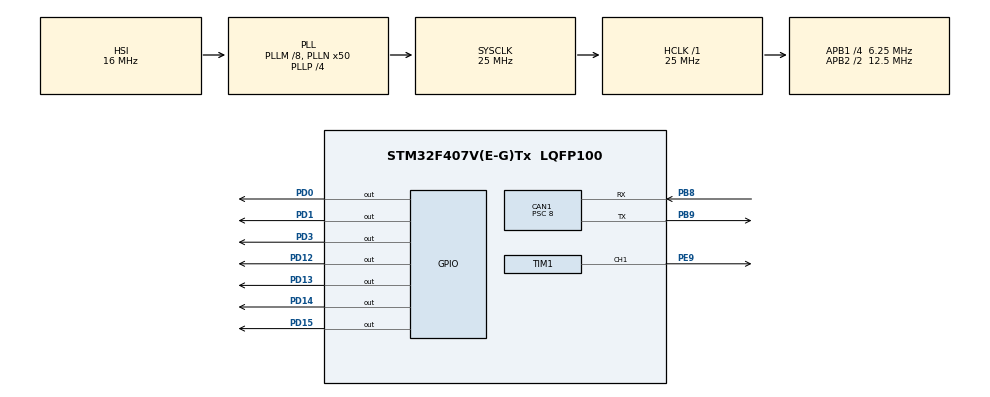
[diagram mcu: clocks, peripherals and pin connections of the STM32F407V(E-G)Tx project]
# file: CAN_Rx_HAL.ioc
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CAN1.BS1=CAN_BS1_13TQ
CAN1.BS2=CAN_BS2_2TQ
CAN1.CalculateBaudRate=48828
CAN1.CalculateTimeBit=20480
CAN1.CalculateTimeQuantum=1280.0
CAN1.Prescaler=8
Mcu.Family=STM32F4
Mcu.Name=STM32F407V(E-G)Tx
Mcu.Package=LQFP100
NVIC.CAN1_RX0_IRQn=true\:0\:0\:false\:false\:true\:true\:true\:true
NVIC.PriorityGroup=NVIC_PRIORITYGROUP_0
PB8.Mode=CAN_Activate
PB8.Signal=CAN1_RX
PB9.Mode=CAN_Activate
PB9.Signal=CAN1_TX
PD0.Signal=GPIO_Output
PD1.Signal=GPIO_Output
PD12.GPIO_ModeDefaultOutputPP=GPIO_MODE_OUTPUT_PP
PD12.Signal=GPIO_Output
PD13.Signal=GPIO_Output
PD14.GPIO_ModeDefaultOutputPP=GPIO_MODE_OUTPUT_PP
PD14.Signal=GPIO_Output
PD15.Signal=GPIO_Output
PD3.Signal=GPIO_Output
PE9.Signal=S_TIM1_CH1
ProjectManager.HeapSize=0x200
ProjectManager.StackSize=0x400
ProjectManager.TargetToolchain=STM32CubeIDE
RCC.48MHZClocksFreq_Value=14285714.285714285
RCC.AHBFreq_Value=25000000
RCC.APB1CLKDivider=RCC_HCLK_DIV4
RCC.APB1Freq_Value=6250000
RCC.APB1TimFreq_Value=12500000
RCC.APB2CLKDivider=RCC_HCLK_DIV2
RCC.APB2Freq_Value=12500000
RCC.APB2TimFreq_Value=25000000
RCC.CortexFreq_Value=25000000
RCC.HCLKFreq_Value=25000000
RCC.HSE_VALUE=8000000
RCC.HSI_VALUE=16000000
RCC.LSE_VALUE=32768
RCC.PLLM=8
RCC.PLLN=50
RCC.PLLP=RCC_PLLP_DIV4
RCC.PLLQ=7
RCC.SYSCLKFreq_VALUE=25000000
RCC.SYSCLKSource=RCC_SYSCLKSOURCE_PLLCLK
RCC.VCOOutputFreq_Value=100000000
SH.S_TIM1_CH1.0=TIM1_CH1,PWM Generation1 CH1
TIM1.Channel-PWM\ Generation1\ CH1=TIM_CHANNEL_1
TIM1.Period=999
TIM1.Prescaler=83
VP_TIM1_VS_ClockSourceINT.Mode=Internal
board=STM32F407G-DISC1

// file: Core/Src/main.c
/* USER CODE BEGIN Header */
/**
 ******************************************************************************
 * @file           : main.c
 * @brief          : Main program body
 ******************************************************************************
 * @attention
 *
 * Copyright (c) 2026 STMicroelectronics.
 * All rights reserved.
 *
 * This software is licensed under terms that can be found in the LICENSE file
 * in the root directory of this software component.
 * If no LICENSE file comes with this software, it is provided AS-IS.
 *
 ******************************************************************************
 */
/* USER CODE END Header */
#include "main.h"

CAN_HandleTypeDef hcan1;

TIM_HandleTypeDef htim1;

/* USER CODE BEGIN PV */
uint32_t motor_speed = 0;

CAN_RxHeaderTypeDef RxHeader;
uint8_t Rxdata[8];
uint16_t ultra_reading;
uint8_t ir_reading;
uint8_t vib_ok = 0, mq_ok = 0;

/* USER CODE END PV */

void SystemClock_Config(void);
static void MX_GPIO_Init(void);
static void MX_CAN1_Init(void);
static void MX_TIM1_Init(void);
/* USER CODE BEGIN PFP */

void Motor_Run(uint16_t speed) {
	if (speed > 999)
		speed = 999;
	HAL_GPIO_WritePin(GPIOD, GPIO_PIN_0, GPIO_PIN_SET);   // IN1
	HAL_GPIO_WritePin(GPIOD, GPIO_PIN_1, GPIO_PIN_RESET); // IN2
	__HAL_TIM_SET_COMPARE(&htim1, TIM_CHANNEL_1, speed);
}

void Motor_SmoothSpeed(uint16_t target) {

	if (motor_speed < target)
		motor_speed += 25;
	else if (motor_speed > target)
		motor_speed -= 25;

	Motor_Run(motor_speed);
}

/* USER CODE END PFP */

int main(void) {

	/* MCU Configuration--------------------------------------------------------*/

	/* Reset of all peripherals, Initializes the Flash interface and the Systick. */
	HAL_Init();

	/* Configure the system clock */
	SystemClock_Config();

	/* Initialize all configured peripherals */
	MX_GPIO_Init();
	MX_CAN1_Init();
	MX_TIM1_Init();
	/* USER CODE BEGIN 2 */
	//can_filter_config();
	HAL_CAN_Start(&hcan1);
	//HAL_CAN_ActivateNotification(&hcan1, CAN_IT_RX_FIFO0_MSG_PENDING);
	HAL_TIM_PWM_Start(&htim1, TIM_CHANNEL_1);

	/* USER CODE END 2 */

	/* Infinite loop */
	/* USER CODE BEGIN WHILE */
	while (1) {
		if (HAL_CAN_GetRxFifoFillLevel(&hcan1, CAN_RX_FIFO0) > 0) {
			HAL_CAN_GetRxMessage(&hcan1, CAN_RX_FIFO0, &RxHeader, Rxdata);
			if (RxHeader.StdId == 0x123 && RxHeader.DLC == 2) {
				ultra_reading = (Rxdata[0] << 8) | Rxdata[1];
				//LcdPuts(LCD_LINE1, "VIB:");
				//sprintf(lcd_buf,"%4d",vibration_reading);
				//LcdPuts(LCD_LINE1+4,lcd_buf);
				if (ultra_reading > 20) {
					vib_ok = 0;

//				motor_start();
					Motor_SmoothSpeed(500);
					HAL_GPIO_WritePin(GPIOD, GPIO_PIN_14, GPIO_PIN_SET);
					HAL_GPIO_WritePin(GPIOD, GPIO_PIN_12, GPIO_PIN_RESET);
				} else {
					vib_ok = 1;
//				motor_stop();
					Motor_SmoothSpeed(10);
					HAL_GPIO_WritePin(GPIOD, GPIO_PIN_12, GPIO_PIN_SET);
					HAL_GPIO_WritePin(GPIOD, GPIO_PIN_14, GPIO_PIN_RESET);
				}
			} else if (RxHeader.StdId == 0x125 && RxHeader.DLC == 1) {
				ir_reading = Rxdata[0] & 0X01;
				if (ir_reading == 0) {
					HAL_GPIO_WritePin(GPIOD, GPIO_PIN_13, GPIO_PIN_SET);
					HAL_GPIO_WritePin(GPIOD, GPIO_PIN_3, GPIO_PIN_SET);
				} else
					HAL_GPIO_WritePin(GPIOD, GPIO_PIN_3, GPIO_PIN_RESET);
			}
		}
//
//
		/* USER CODE END WHILE */

	}
}

void SystemClock_Config(void) {
	RCC_OscInitTypeDef RCC_OscInitStruct = { 0 };
	RCC_ClkInitTypeDef RCC_ClkInitStruct = { 0 };

	/** Configure the main internal regulator output voltage
	 */
	__HAL_RCC_PWR_CLK_ENABLE();
	__HAL_PWR_VOLTAGESCALING_CONFIG(PWR_REGULATOR_VOLTAGE_SCALE1);

	/** Initializes the RCC Oscillators according to the specified parameters
	 * in the RCC_OscInitTypeDef structure.
	 */
	RCC_OscInitStruct.OscillatorType = RCC_OSCILLATORTYPE_HSI;
	RCC_OscInitStruct.HSIState = RCC_HSI_ON;
	RCC_OscInitStruct.HSICalibrationValue = RCC_HSICALIBRATION_DEFAULT;
	RCC_OscInitStruct.PLL.PLLState = RCC_PLL_ON;
	RCC_OscInitStruct.PLL.PLLSource = RCC_PLLSOURCE_HSI;
	RCC_OscInitStruct.PLL.PLLM = 8;
	RCC_OscInitStruct.PLL.PLLN = 50;
	RCC_OscInitStruct.PLL.PLLP = RCC_PLLP_DIV4;
	RCC_OscInitStruct.PLL.PLLQ = 7;
	if (HAL_RCC_OscConfig(&RCC_OscInitStruct) != HAL_OK) {
		Error_Handler();
	}

	/** Initializes the CPU, AHB and APB buses clocks
	 */
	RCC_ClkInitStruct.ClockType = RCC_CLOCKTYPE_HCLK | RCC_CLOCKTYPE_SYSCLK
			| RCC_CLOCKTYPE_PCLK1 | RCC_CLOCKTYPE_PCLK2;
	RCC_ClkInitStruct.SYSCLKSource = RCC_SYSCLKSOURCE_PLLCLK;
	RCC_ClkInitStruct.AHBCLKDivider = RCC_SYSCLK_DIV1;
	RCC_ClkInitStruct.APB1CLKDivider = RCC_HCLK_DIV4;
	RCC_ClkInitStruct.APB2CLKDivider = RCC_HCLK_DIV2;

	if (HAL_RCC_ClockConfig(&RCC_ClkInitStruct, FLASH_LATENCY_0) != HAL_OK) {
		Error_Handler();
	}
}

static void MX_CAN1_Init(void) {

	hcan1.Instance = CAN1;
	hcan1.Init.Prescaler = 8;
	hcan1.Init.Mode = CAN_MODE_NORMAL;
	hcan1.Init.SyncJumpWidth = CAN_SJW_1TQ;
	hcan1.Init.TimeSeg1 = CAN_BS1_13TQ;
	hcan1.Init.TimeSeg2 = CAN_BS2_2TQ;
	hcan1.Init.TimeTriggeredMode = DISABLE;
	hcan1.Init.AutoBusOff = DISABLE;
	hcan1.Init.AutoWakeUp = DISABLE;
	hcan1.Init.AutoRetransmission = DISABLE;
	hcan1.Init.ReceiveFifoLocked = DISABLE;
	hcan1.Init.TransmitFifoPriority = DISABLE;
	if (HAL_CAN_Init(&hcan1) != HAL_OK) {
		Error_Handler();
	}
	/* USER CODE BEGIN CAN1_Init 2 */
	CAN_FilterTypeDef filter1;
	filter1.FilterBank = 0;
	filter1.FilterMode = CAN_FILTERMODE_IDLIST;
	filter1.FilterScale = CAN_FILTERSCALE_32BIT;

	filter1.FilterIdHigh = 0x123 << 5;
	filter1.FilterIdLow = 0;
	filter1.FilterMaskIdHigh = 0;
	filter1.FilterMaskIdLow = 0;
	filter1.FilterFIFOAssignment = CAN_RX_FIFO0;
	filter1.FilterActivation = CAN_FILTER_ENABLE;
	filter1.SlaveStartFilterBank = 14;
	HAL_CAN_ConfigFilter(&hcan1, &filter1);

	CAN_FilterTypeDef filter2;
	filter2.FilterBank = 1;
	filter2.FilterMode = CAN_FILTERMODE_IDLIST;
	filter2.FilterScale = CAN_FILTERSCALE_32BIT;

	filter2.FilterIdHigh = 0x124 << 5;
	filter2.FilterIdLow = 0;
	filter2.FilterMaskIdHigh = 0;
	filter2.FilterMaskIdLow = 0;
	filter2.FilterFIFOAssignment = CAN_RX_FIFO0;
	filter2.FilterActivation = CAN_FILTER_ENABLE;

	HAL_CAN_ConfigFilter(&hcan1, &filter2);

	CAN_FilterTypeDef filter3;
	filter3.FilterBank = 2;
	filter3.FilterMode = CAN_FILTERMODE_IDLIST;
	filter3.FilterScale = CAN_FILTERSCALE_32BIT;

	filter3.FilterIdHigh = 0x125 << 5;
	filter3.FilterIdLow = 0;
	filter3.FilterMaskIdHigh = 0;
	filter3.FilterMaskIdLow = 0;
	filter3.FilterFIFOAssignment = CAN_RX_FIFO0;
	filter3.FilterActivation = CAN_FILTER_ENABLE;

	HAL_CAN_ConfigFilter(&hcan1, &filter3);

	/* USER CODE END CAN1_Init 2 */

}

static void MX_TIM1_Init(void) {

	TIM_ClockConfigTypeDef sClockSourceConfig = { 0 };
	TIM_MasterConfigTypeDef sMasterConfig = { 0 };
	TIM_OC_InitTypeDef sConfigOC = { 0 };
	TIM_BreakDeadTimeConfigTypeDef sBreakDeadTimeConfig = { 0 };

	htim1.Instance = TIM1;
	htim1.Init.Prescaler = 83;
	htim1.Init.CounterMode = TIM_COUNTERMODE_UP;
	htim1.Init.Period = 999;
	htim1.Init.ClockDivision = TIM_CLOCKDIVISION_DIV1;
	htim1.Init.RepetitionCounter = 0;
	htim1.Init.AutoReloadPreload = TIM_AUTORELOAD_PRELOAD_DISABLE;
	if (HAL_TIM_Base_Init(&htim1) != HAL_OK) {
		Error_Handler();
	}
	sClockSourceConfig.ClockSource = TIM_CLOCKSOURCE_INTERNAL;
	if (HAL_TIM_ConfigClockSource(&htim1, &sClockSourceConfig) != HAL_OK) {
		Error_Handler();
	}
	if (HAL_TIM_PWM_Init(&htim1) != HAL_OK) {
		Error_Handler();
	}
	sMasterConfig.MasterOutputTrigger = TIM_TRGO_RESET;
	sMasterConfig.MasterSlaveMode = TIM_MASTERSLAVEMODE_DISABLE;
	if (HAL_TIMEx_MasterConfigSynchronization(&htim1, &sMasterConfig)
			!= HAL_OK) {
		Error_Handler();
	}
	sConfigOC.OCMode = TIM_OCMODE_PWM1;
	sConfigOC.Pulse = 0;
	sConfigOC.OCPolarity = TIM_OCPOLARITY_HIGH;
	sConfigOC.OCNPolarity = TIM_OCNPOLARITY_HIGH;
	sConfigOC.OCFastMode = TIM_OCFAST_DISABLE;
	sConfigOC.OCIdleState = TIM_OCIDLESTATE_RESET;
	sConfigOC.OCNIdleState = TIM_OCNIDLESTATE_RESET;
	if (HAL_TIM_PWM_ConfigChannel(&htim1, &sConfigOC, TIM_CHANNEL_1)
			!= HAL_OK) {
		Error_Handler();
	}
	sBreakDeadTimeConfig.OffStateRunMode = TIM_OSSR_DISABLE;
	sBreakDeadTimeConfig.OffStateIDLEMode = TIM_OSSI_DISABLE;
	sBreakDeadTimeConfig.LockLevel = TIM_LOCKLEVEL_OFF;
	sBreakDeadTimeConfig.DeadTime = 0;
	sBreakDeadTimeConfig.BreakState = TIM_BREAK_DISABLE;
	sBreakDeadTimeConfig.BreakPolarity = TIM_BREAKPOLARITY_HIGH;
	sBreakDeadTimeConfig.AutomaticOutput = TIM_AUTOMATICOUTPUT_DISABLE;
	if (HAL_TIMEx_ConfigBreakDeadTime(&htim1, &sBreakDeadTimeConfig)
			!= HAL_OK) {
		Error_Handler();
	}
	HAL_TIM_MspPostInit(&htim1);

}

static void MX_GPIO_Init(void) {
	GPIO_InitTypeDef GPIO_InitStruct = { 0 };

	/* GPIO Ports Clock Enable */
	__HAL_RCC_GPIOE_CLK_ENABLE();
	__HAL_RCC_GPIOD_CLK_ENABLE();
	__HAL_RCC_GPIOB_CLK_ENABLE();

	/*Configure GPIO pin Output Level */
	HAL_GPIO_WritePin(GPIOD,
			GPIO_PIN_12 | GPIO_PIN_13 | GPIO_PIN_14 | GPIO_PIN_15 | GPIO_PIN_0
					| GPIO_PIN_1 | GPIO_PIN_3, GPIO_PIN_RESET);

	/*Configure GPIO pins : PD12 PD13 PD14 PD15
	 PD0 PD1 PD3 */
	GPIO_InitStruct.Pin = GPIO_PIN_12 | GPIO_PIN_13 | GPIO_PIN_14 | GPIO_PIN_15
			| GPIO_PIN_0 | GPIO_PIN_1 | GPIO_PIN_3;
	GPIO_InitStruct.Mode = GPIO_MODE_OUTPUT_PP;
	GPIO_InitStruct.Pull = GPIO_NOPULL;
	GPIO_InitStruct.Speed = GPIO_SPEED_FREQ_LOW;
	HAL_GPIO_Init(GPIOD, &GPIO_InitStruct);

	/* USER CODE BEGIN MX_GPIO_Init_2 */

	GPIO_InitStruct.Pin = GPIO_PIN_9;
	GPIO_InitStruct.Mode = GPIO_MODE_AF_PP;
	GPIO_InitStruct.Pull = GPIO_NOPULL;
	GPIO_InitStruct.Speed = GPIO_SPEED_FREQ_LOW;
	GPIO_InitStruct.Alternate = GPIO_AF1_TIM1;
	HAL_GPIO_Init(GPIOE, &GPIO_InitStruct);

	/* USER CODE END MX_GPIO_Init_2 */
}

void Error_Handler(void) {
	__disable_irq();
	while (1) {
	}
}
